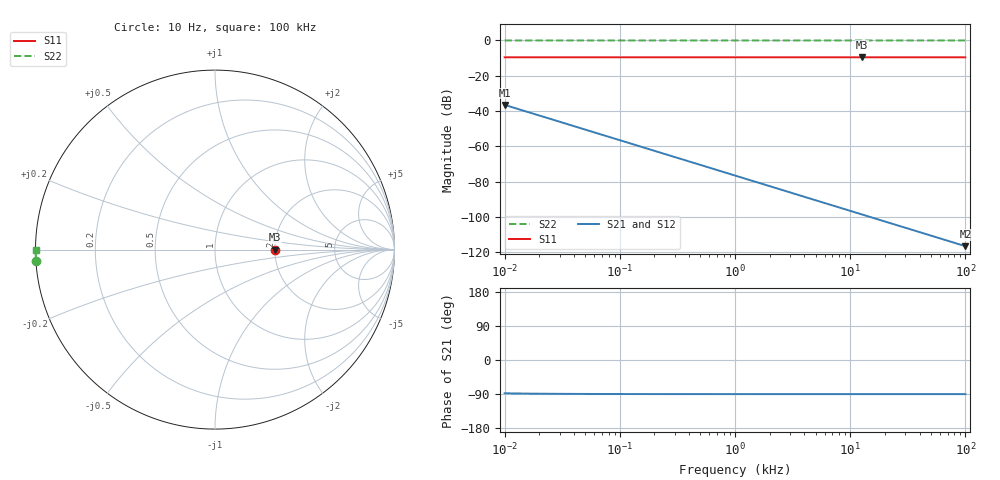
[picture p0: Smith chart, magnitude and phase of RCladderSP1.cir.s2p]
# Hz S RI R 100 50
!  Freq  ReS11  ImS11  ReS21  ImS21  ReS12  ImS12  ReS22  ImS22
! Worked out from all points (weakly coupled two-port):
!   41 points, 10 Hz to 100 kHz, reference 100 ohm
!   highest |S21| = -36.48 dB at 10 Hz (marker M1); lowest = -116.5 dB at 100 kHz (marker M2)
!   lowest |S11| = -9.5 dB at 12.59 kHz (marker M3), VSWR 2.00, Z = 200 - j0.0138 ohm
!   |S11| at or under -10 dB: nowhere
!   |S22| runs from 0.0 to 0.0 dB; largest |S21 - S12| = 1e-17
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10  0.3335 -0.00353  0.000556 -0.015  0.000556 -0.015  -0.9968 -0.0635
12.58925  0.3334 -0.00281  0.000351 -0.0119  0.000351 -0.0119  -0.9977 -0.0505
15.84893  0.3334 -0.00223  0.000222 -0.00946  0.000222 -0.00946  -0.9983 -0.0401
19.95262  0.3334 -0.00177  0.00014 -0.00751  0.00014 -0.00751  -0.9986 -0.0319
25.11886  0.3334 -0.00141  8.82e-05 -0.00597  8.82e-05 -0.00597  -0.9988 -0.0253
31.62278  0.3333 -0.00112  5.57e-05 -0.00474  5.57e-05 -0.00474  -0.999 -0.0201
39.81072  0.3333 -0.000888  3.51e-05 -0.00377  3.51e-05 -0.00377  -0.9991 -0.016
50.11872  0.3333 -0.000706  2.22e-05 -0.00299  2.22e-05 -0.00299  -0.9991 -0.0127
63.09573  0.3333 -0.000561  1.4e-05 -0.00238  1.4e-05 -0.00238  -0.9991 -0.0101
79.43282  0.3333 -0.000445  8.82e-06 -0.00189  8.82e-06 -0.00189  -0.9992 -0.00801
100  0.3333 -0.000354  5.57e-06 -0.0015  5.57e-06 -0.0015  -0.9992 -0.00636
125.8925  0.3333 -0.000281  3.51e-06 -0.00119  3.51e-06 -0.00119  -0.9992 -0.00505
158.4893  0.3333 -0.000224  2.22e-06 -0.000946  2.22e-06 -0.000946  -0.9992 -0.00401
251.1886  0.3333 -0.000141  8.82e-07 -0.000597  8.82e-07 -0.000597  -0.9992 -0.00253
316.2278  0.3333 -0.000113  5.56e-07 -0.000474  5.56e-07 -0.000474  -0.9992 -0.00201
501.1872  0.3333 -7.17e-05  2.21e-07 -0.000299  2.21e-07 -0.000299  -0.9992 -0.00127
1258.925  0.3333 -3.09e-05  3.46e-08 -0.000119  3.46e-08 -0.000119  -0.9992 -0.000505
1584.893  0.3333 -2.58e-05  2.16e-08 -9.46e-05  2.16e-08 -9.46e-05  -0.9992 -0.000401
5011.872  0.3333 -1.81e-05  1.68e-09 -2.99e-05  1.68e-09 -2.99e-05  -0.9992 -0.000127
12589.25  0.3333 -3.06e-05  -1.89e-10 -1.19e-05  -1.89e-10 -1.19e-05  -0.9992 -5.05e-05
25118.86  0.3333 -5.68e-05  -4.52e-10 -5.97e-06  -4.52e-10 -5.97e-06  -0.9992 -2.53e-05
100000  0.3333 -0.000221  -5.35e-10 -1.5e-06  -5.35e-10 -1.5e-06  -0.9992 -6.36e-06
